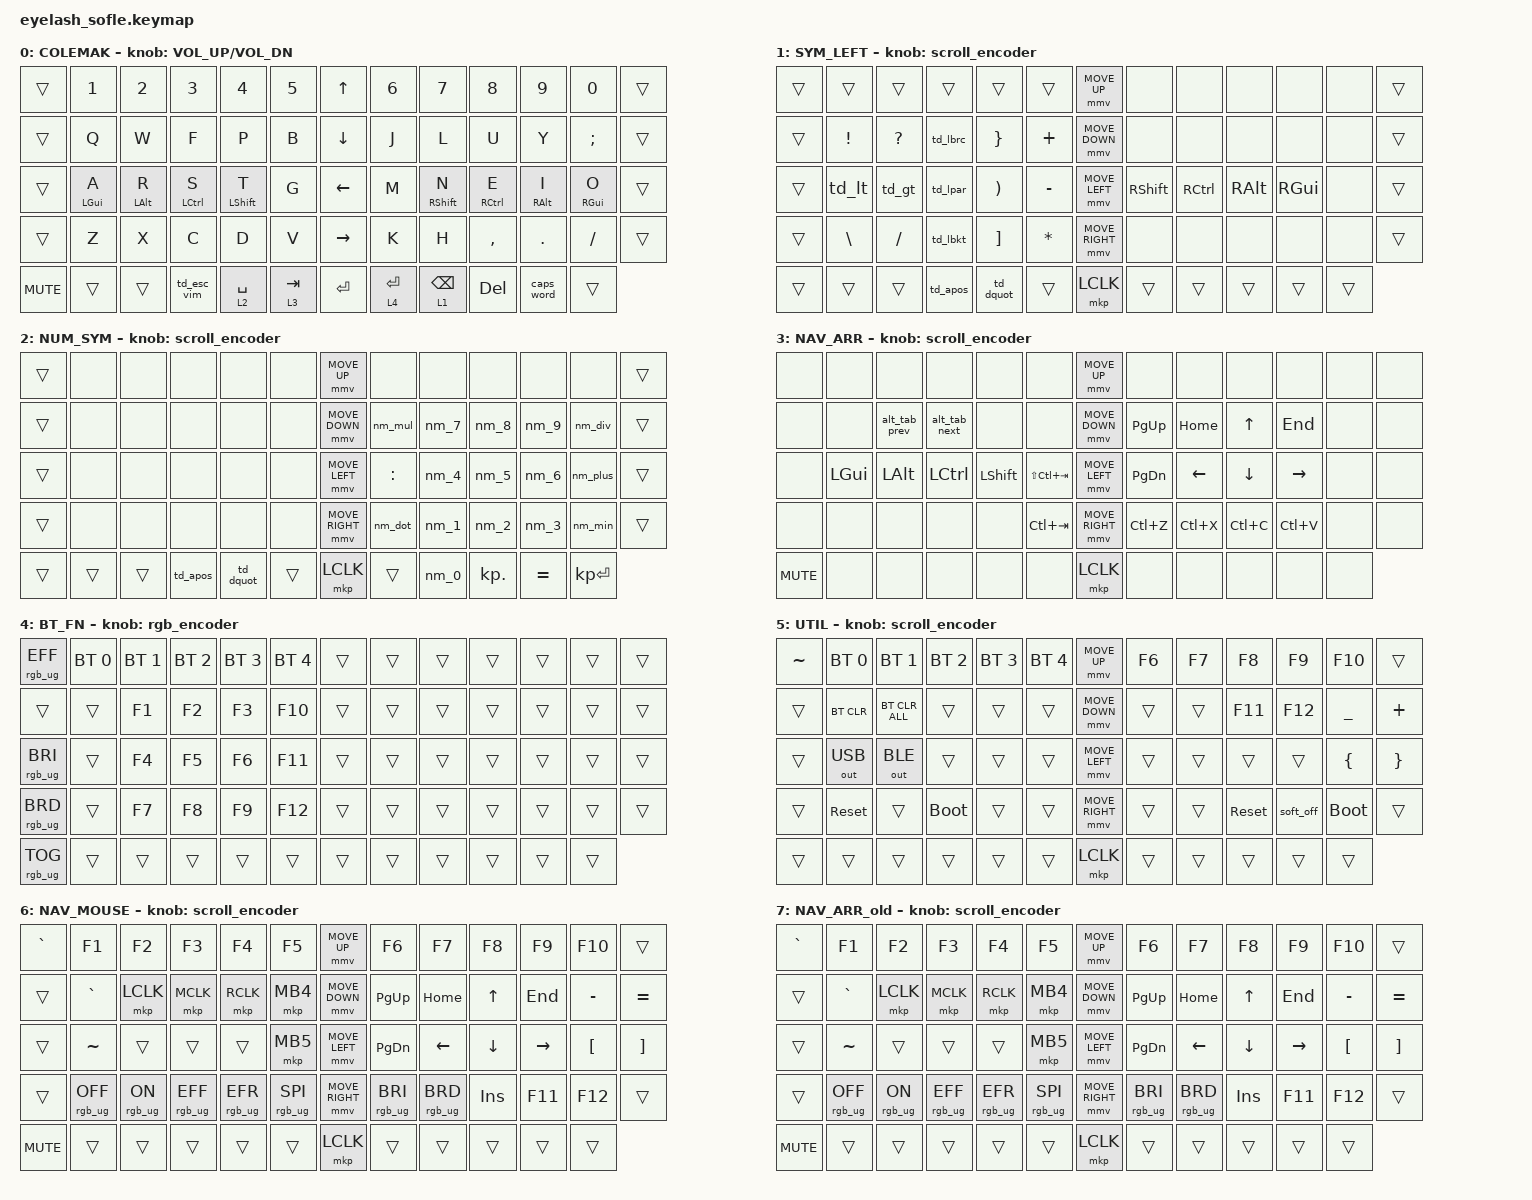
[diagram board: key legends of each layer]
#define ZMK_POINTING_DEFAULT_MOVE_VAL 1200
#define ZMK_POINTING_DEFAULT_SCRL_VAL 25

#define NO_AE RA(Z)
#define NO_O  RA(L)
#define NO_AA RA(W)

#include <behaviors.dtsi>
#include <dt-bindings/zmk/bt.h>
#include <dt-bindings/zmk/keys.h>
#include <dt-bindings/zmk/outputs.h>
#include <dt-bindings/zmk/pointing.h>
#include <dt-bindings/zmk/rgb.h>
#include <input/processors.dtsi>

/* Mouse Settings */
&mmv_input_listener { input-processors = <&zip_xy_scaler 2 1>; };
&msc_input_listener { input-processors = <&zip_scroll_scaler 2 1>; };

&msc {
    acceleration-exponent = <1>;
    time-to-max-speed-ms = <100>;
    delay-ms = <0>;
};

&mmv {
    time-to-max-speed-ms = <300>;
    acceleration-exponent = <2>;
    trigger-period-ms = <8>;
};

&soft_off { hold-time-ms = <2000>; };

/ {
    scroll_encoder: scroll_encoder {
        compatible = "zmk,behavior-sensor-rotate";
        #sensor-binding-cells = <0>;
        bindings = <&msc SCRL_DOWN>, <&msc SCRL_UP>;
        tap-ms = <100>;
    };

    rgb_encoder: rgb_encoder {
        compatible = "zmk,behavior-sensor-rotate";
        #sensor-binding-cells = <0>;
        bindings = <&rgb_ug RGB_BRI>, <&rgb_ug RGB_BRD>;
        tap-ms = <30>; // Lower ms makes it feel more responsive for lighting
    };

    /* Trackpoint Scroll Listener is disabled for this build to ensure success */
    /* We will re-enable this once we have a green build checkmark */

    behaviors {
        hrm: home_row_mod {
            compatible = "zmk,behavior-hold-tap";
            #binding-cells = <2>;
            flavor = "balanced";
            tapping-term-ms = <280>;
            quick-tap-ms = <175>;
            require-prior-idle-ms = <150>;
            bindings = <&kp>, <&kp>;
        };
        td_gt: td_gt {
            compatible = "zmk,behavior-tap-dance";
            #binding-cells = <0>;
            tapping-term-ms = <200>;
            bindings = <&kp GT>, <&arrow_macro>;
        };
        td_lpar: td_lpar {
            compatible = "zmk,behavior-tap-dance";
            #binding-cells = <0>;
            tapping-term-ms = <200>;
            bindings = <&kp LPAR>, <&parens_inside>;
        };
        td_lbrc: td_lbrc {
            compatible = "zmk,behavior-tap-dance";
            #binding-cells = <0>;
            tapping-term-ms = <200>;
            bindings = <&kp LBRC>, <&braces_inside>;
        };
        td_lbkt: td_lbkt {
            compatible = "zmk,behavior-tap-dance";
            #binding-cells = <0>;
            tapping-term-ms = <200>;
            bindings = <&kp LBKT>, <&brackets_inside>;
        };
        td_lt: td_lt {
            compatible = "zmk,behavior-tap-dance";
            #binding-cells = <0>;
            tapping-term-ms = <200>;
            bindings = <&kp LT>, <&angles_inside>;
        };
    
       apos_single: apos_single {
            compatible = "zmk,behavior-macro";
            #binding-cells = <0>;
            bindings = <&macro_release &kp LSHIFT>, <&macro_release &kp RSHIFT>, <&macro_tap &kp APOS>;
        };

        td_apos: td_apos {
            compatible = "zmk,behavior-tap-dance";
            #binding-cells = <0>;
            tapping-term-ms = <200>;
            bindings = <&apos_single>, <&apos_inside>;
        };
        td_dquot: td_dquot {
            compatible = "zmk,behavior-tap-dance";
            #binding-cells = <0>;
            tapping-term-ms = <200>;
            bindings = <&kp DQT>, <&dquot_inside>;
        };
        mm_vim_quit: mm_vim_quit {
            compatible = "zmk,behavior-mod-morph";
            #binding-cells = <0>;
            bindings = <&vim_save_quit>, <&vim_just_quit>;
            mods = <(MOD_LSFT|MOD_RSFT)>;
        };
        td_esc_vim: td_esc_vim {
            compatible = "zmk,behavior-tap-dance";
            #binding-cells = <0>;
            tapping-term-ms = <200>;
            bindings = <&kp ESC>, <&mm_vim_quit>;
        };
        nm_0: nm_0 { compatible = "zmk,behavior-mod-morph"; #binding-cells = <0>; bindings = <&kp N0>, <&kp EQUAL>; mods = <(MOD_LSFT|MOD_RSFT)>; };
        nm_1: nm_1 { 
            compatible = "zmk,behavior-mod-morph"; 
            #binding-cells = <0>; 
            bindings = <&kp N1>, <&td_dquot>; 
            mods = <(MOD_LSFT|MOD_RSFT)>; 
        };
        nm_2: nm_2 { compatible = "zmk,behavior-mod-morph"; #binding-cells = <0>; bindings = <&kp N2>, <&kp PIPE>; mods = <(MOD_LSFT|MOD_RSFT)>; };
        nm_3: nm_3 { compatible = "zmk,behavior-mod-morph"; #binding-cells = <0>; bindings = <&kp N3>, <&kp HASH>; mods = <(MOD_LSFT|MOD_RSFT)>; };
        nm_4: nm_4 { 
            compatible = "zmk,behavior-mod-morph"; 
            #binding-cells = <0>; 
            bindings = <&kp N4>, <&td_apos>; 
            mods = <(MOD_LSFT|MOD_RSFT)>; 
        };
        nm_5: nm_5 { compatible = "zmk,behavior-mod-morph"; #binding-cells = <0>; bindings = <&kp N5>, <&kp AMPS>; mods = <(MOD_LSFT|MOD_RSFT)>; };
        nm_6: nm_6 { compatible = "zmk,behavior-mod-morph"; #binding-cells = <0>; bindings = <&kp N6>, <&kp AT>; mods = <(MOD_LSFT|MOD_RSFT)>; };
        nm_7: nm_7 { compatible = "zmk,behavior-mod-morph"; #binding-cells = <0>; bindings = <&kp N7>, <&kp GRAVE>; mods = <(MOD_LSFT|MOD_RSFT)>; };
        nm_8: nm_8 { compatible = "zmk,behavior-mod-morph"; #binding-cells = <0>; bindings = <&kp N8>, <&kp PRCNT>; mods = <(MOD_LSFT|MOD_RSFT)>; };
        nm_9: nm_9 { compatible = "zmk,behavior-mod-morph"; #binding-cells = <0>; bindings = <&kp N9>, <&kp POUND>; mods = <(MOD_LSFT|MOD_RSFT)>; };
        nm_dot: nm_dot { compatible = "zmk,behavior-mod-morph"; #binding-cells = <0>; bindings = <&kp KP_DOT>, <&kp UNDER>; mods = <(MOD_LSFT|MOD_RSFT)>; };
        nm_plus: nm_plus { compatible = "zmk,behavior-mod-morph"; #binding-cells = <0>; bindings = <&kp KP_PLUS>, <&kp COLON>; mods = <(MOD_LSFT|MOD_RSFT)>; };
        nm_min: nm_min { compatible = "zmk,behavior-mod-morph"; #binding-cells = <0>; bindings = <&kp KP_MINUS>, <&kp TILDE>; mods = <(MOD_LSFT|MOD_RSFT)>; };
        nm_div: nm_div { compatible = "zmk,behavior-mod-morph"; #binding-cells = <0>; bindings = <&kp KP_SLASH>, <&kp CARET>; mods = <(MOD_LSFT|MOD_RSFT)>; };
        nm_mul: nm_mul { compatible = "zmk,behavior-mod-morph"; #binding-cells = <0>; bindings = <&kp KP_ASTERISK>, <&kp DLLR>; mods = <(MOD_LSFT|MOD_RSFT)>; };
    };

    macros {
        arrow_macro: arrow_macro {
            compatible = "zmk,behavior-macro";
            #binding-cells = <0>;
            bindings = <&kp EQUAL>, <&kp GT>;
        };
        parens_inside: parens_inside {
            compatible = "zmk,behavior-macro";
            #binding-cells = <0>;
            bindings = <&kp LPAR>, <&kp RPAR>, <&kp LEFT>;
        };
        braces_inside: braces_inside {
            compatible = "zmk,behavior-macro";
            #binding-cells = <0>;
            bindings = <&kp LBRC>, <&kp RBRC>, <&kp LEFT>;
        };
        brackets_inside: brackets_inside {
            compatible = "zmk,behavior-macro";
            #binding-cells = <0>;
            bindings = <&kp LBKT>, <&kp RBKT>, <&kp LEFT>;
        };
        angles_inside: angles_inside {
            compatible = "zmk,behavior-macro";
            #binding-cells = <0>;
            bindings = <&kp LT>, <&kp GT>, <&kp LEFT>;
        };
        apos_inside: apos_inside {
            compatible = "zmk,behavior-macro";
            #binding-cells = <0>;
            bindings = <&macro_release &kp LSHIFT>, <&macro_release &kp RSHIFT>, <&macro_tap &kp APOS &kp APOS &kp LEFT>;
        };
        dquot_inside: dquot_inside {
            compatible = "zmk,behavior-macro";
            #binding-cells = <0>;
            bindings = <&macro_release &kp LSHIFT>, <&macro_release &kp RSHIFT>, <&macro_tap &kp DQT &kp DQT &kp LEFT>;
        };
        vim_save_quit: vim_save_quit {
            compatible = "zmk,behavior-macro";
            #binding-cells = <0>;
            bindings = <&kp ESC &kp COLON &kp W &kp Q &kp RET>;
        };
        vim_just_quit: vim_just_quit {
            compatible = "zmk,behavior-macro";
            #binding-cells = <0>;
            bindings = <&kp ESC &kp COLON &kp Q &kp RET>;
        };
        aa_macro: aa_macro {
            compatible = "zmk,behavior-macro";
            #binding-cells = <0>;
            bindings = <&kp LBKT>;
        };
        oo_macro: oo_macro {
            compatible = "zmk,behavior-macro";
            #binding-cells = <0>;
            bindings = <&kp SEMI>;
        };
        alt_tab_next: alt_tab_next {
            compatible = "zmk,behavior-macro";
            #binding-cells = <0>;
            bindings = <&macro_press &kp LALT>, <&macro_tap &kp TAB>, <&macro_release &kp LALT>;
        };

        alt_tab_prev: alt_tab_prev {
            compatible = "zmk,behavior-macro";
            #binding-cells = <0>;
            bindings = <&macro_press &kp LALT>, <&macro_tap &kp LS(TAB)>, <&macro_release &kp LALT>;
        };
    };

    combos {
        compatible = "zmk,combos";
        combo_softoff {
            bindings = <&soft_off>;
            key-positions = <14 28 40>;
        };
        combo_aa {
            timeout-ms = <50>;
            key-positions = <15 16>; 
            bindings = <&kp NO_AA>; 
        };
        combo_ae {
            timeout-ms = <50>;
            key-positions = <21 22>; 
            bindings = <&kp NO_AE>;
        };
        combo_oo {
            bindings = <&kp NO_O>;
            timeout-ms = <50>;
            key-positions = <22 23>; 
        };
    };

    keymap {
        compatible = "zmk,keymap";

        layer0 {
            display-name = "COLEMAK";
            bindings = <
&trans       &kp N1          &kp N2          &kp N3          &kp N4           &kp N5    &kp UP_ARROW    &kp N6       &kp N7           &kp N8          &kp N9          &kp N0          &trans
&trans       &kp Q           &kp W           &kp F           &kp P            &kp B     &kp DOWN_ARROW  &kp J        &kp L            &kp U           &kp Y           &kp SEMICOLON   &trans
&trans       &hrm LGUI A     &hrm LALT R     &hrm LCTRL S    &hrm LSHIFT T    &kp G     &kp LEFT_ARROW  &kp M        &hrm RSHIFT N    &hrm RCTRL E    &hrm RALT I     &hrm RGUI O     &trans
&trans       &kp Z           &kp X           &kp C           &kp D            &kp V     &kp RIGHT_ARROW &kp K        &kp H            &kp COMMA       &kp DOT         &kp FSLH        &trans
&kp C_MUTE   &trans          &trans          &td_esc_vim     &lt 2 SPACE      &lt 3 TAB &kp ENTER       &lt 4 RETURN &lt 1 BSPC       &kp DEL          &caps_word          &trans
            >;
            sensor-bindings = <&inc_dec_kp C_VOLUME_UP C_VOL_DN>;
        };

        layer_1 {
            display-name = "SYM_LEFT";
            bindings = <
&trans  &trans     &trans    &trans    &trans     &trans       &mmv MOVE_UP     &none      &none      &none      &none      &none      &trans
&trans  &kp EXCL   &kp QMARK &td_lbrc  &kp RBRC   &kp PLUS     &mmv MOVE_DOWN   &none      &none      &none      &none      &none      &trans
&trans  &td_lt     &td_gt    &td_lpar  &kp RPAR   &kp MINUS    &mmv MOVE_LEFT   &kp RSHIFT &kp RCTRL  &kp RALT   &kp RGUI   &none      &trans
&trans  &kp BSLH   &kp FSLH  &td_lbkt  &kp RBKT   &kp STAR     &mmv MOVE_RIGHT  &none      &none      &none      &none      &none      &trans
&trans  &trans     &trans    &td_apos  &td_dquot  &trans       &mkp LCLK        &trans     &trans     &trans     &trans     &trans
            >;
            sensor-bindings = <&scroll_encoder>;
        };

        layer_2 {
            display-name = "NUM_SYM";
            bindings = <
&trans  &none      &none      &none      &none      &none              &mmv MOVE_UP     &none      &none      &none      &none      &none       &trans
&trans  &none      &none      &none      &none      &none              &mmv MOVE_DOWN   &nm_mul    &nm_7      &nm_8      &nm_9      &nm_div     &trans
&trans  &none      &none      &none      &none      &none              &mmv MOVE_LEFT   &kp COLON  &nm_4      &nm_5      &nm_6      &nm_plus    &trans
&trans  &none      &none      &none      &none      &none              &mmv MOVE_RIGHT  &nm_dot    &nm_1      &nm_2      &nm_3      &nm_min     &trans
&trans  &trans     &trans     &td_apos   &td_dquot  &trans             &mkp LCLK        &trans     &nm_0      &kp KP_DOT &kp EQUAL  &kp KP_ENTER
            >;
            sensor-bindings = <&scroll_encoder>;
        };

        layer_3 {
            display-name = "NAV_ARR";
            bindings = <
&none        &none        &none        &none        &none         &none                               &mmv MOVE_UP     &none            &none            &none            &none           &none            &none
&none        &none        &alt_tab_prev &alt_tab_next        &none         &none                               &mmv MOVE_DOWN   &kp PG_UP        &kp HOME         &kp UP           &kp END         &none            &none
&none        &kp LGUI     &kp LALT     &kp LCTRL    &kp LSHIFT    &kp LS(LC(TAB))                     &mmv MOVE_LEFT   &kp PG_DN        &kp LEFT         &kp DOWN         &kp RIGHT       &none            &none
&none        &none        &none        &none        &none         &kp LC(TAB)                         &mmv MOVE_RIGHT  &kp LC(Z)        &kp LC(X)        &kp LC(C)        &kp LC(V)       &none            &none
&kp C_MUTE   &none        &none        &none        &none         &none                               &mkp LCLK        &none            &none            &none            &none           &none
            >;
            sensor-bindings = <&scroll_encoder>;
        };

        layer_4 {
            display-name = "BT_FN";
            bindings = <
&rgb_ug RGB_EFF  &bt BT_SEL 0  &bt BT_SEL 1    &bt BT_SEL 2  &bt BT_SEL 3  &bt BT_SEL 4  &trans    &trans  &trans  &trans  &trans  &trans  &trans
&trans  &trans  &kp F1  &kp F2  &kp F3  &kp F10   &trans  &trans  &trans  &trans  &trans  &trans  &trans
&rgb_ug RGB_BRI  &trans  &kp F4  &kp F5  &kp F6  &kp F11    &trans  &trans  &trans  &trans  &trans  &trans  &trans
&rgb_ug RGB_BRD  &trans  &kp F7  &kp F8  &kp F9  &kp F12    &trans  &trans  &trans  &trans  &trans  &trans  &trans
&rgb_ug RGB_TOG  &trans  &trans  &trans  &trans  &trans    &trans  &trans  &trans  &trans  &trans  &trans
            >;
            sensor-bindings = <&rgb_encoder>;
        };

        layer_5 {
            display-name = "UTIL";
            bindings = <
&kp TILDE  &bt BT_SEL 0  &bt BT_SEL 1    &bt BT_SEL 2  &bt BT_SEL 3  &bt BT_SEL 4    &mmv MOVE_UP     &kp F6     &kp F7  &kp F8      &kp F9      &kp F10      &trans
&trans     &bt BT_CLR     &bt BT_CLR_ALL  &trans        &trans        &trans          &mmv MOVE_DOWN   &trans     &trans  &kp F11     &kp F12     &kp UNDER    &kp PLUS
&trans     &out OUT_USB  &out OUT_BLE    &trans        &trans        &trans          &mmv MOVE_LEFT   &trans     &trans  &trans      &trans      &kp LBRC     &kp RBRC
&trans     &sys_reset    &trans          &bootloader   &trans        &trans          &mmv MOVE_RIGHT  &trans     &trans  &sys_reset  &soft_off   &bootloader  &trans
&trans     &trans        &trans          &trans        &trans        &trans          &mkp LCLK        &trans     &trans  &trans      &trans      &trans
            >;
            sensor-bindings = <&scroll_encoder>;
        };

        layer_6 {
            display-name = "NAV_MOUSE";
            bindings = <
&kp GRAVE   &kp F1           &kp F2          &kp F3          &kp F4          &kp F5             &mmv MOVE_UP     &kp F6       &kp F7    &kp F8    &kp F9     &kp F10           &trans
&trans      &kp GRAVE        &mkp LCLK       &mkp MCLK       &mkp RCLK       &mkp MB4           &mmv MOVE_DOWN   &kp PG_UP    &kp HOME  &kp UP    &kp END    &kp MINUS         &kp EQUAL
&trans      &kp TILDE        &trans          &trans          &trans          &mkp MB5           &mmv MOVE_LEFT   &kp PG_DN    &kp LEFT  &kp DOWN  &kp RIGHT  &kp LBKT          &kp RBKT
&trans      &rgb_ug RGB_OFF  &rgb_ug RGB_ON  &rgb_ug RGB_EFF &rgb_ug RGB_EFR &rgb_ug RGB_SPI    &mmv MOVE_RIGHT  &rgb_ug RGB_BRI &rgb_ug RGB_BRD &kp INSERT &kp F11 &kp F12  &trans
&kp C_MUTE  &trans           &trans          &trans          &trans          &trans             &mkp LCLK        &trans       &trans    &trans    &trans     &trans
            >;
            sensor-bindings = <&scroll_encoder>;
        };

        layer_7_oldRGB {
            display-name = "NAV_ARR_old";
            bindings = <
&kp GRAVE   &kp F1           &kp F2          &kp F3          &kp F4          &kp F5             &mmv MOVE_UP     &kp F6       &kp F7    &kp F8    &kp F9     &kp F10           &trans
&trans      &kp GRAVE        &mkp LCLK       &mkp MCLK       &mkp RCLK       &mkp MB4           &mmv MOVE_DOWN   &kp PG_UP    &kp HOME  &kp UP    &kp END    &kp MINUS         &kp EQUAL
&trans      &kp TILDE        &trans          &trans          &trans          &mkp MB5           &mmv MOVE_LEFT   &kp PG_DN    &kp LEFT  &kp DOWN  &kp RIGHT  &kp LBKT          &kp RBKT
&trans      &rgb_ug RGB_OFF  &rgb_ug RGB_ON  &rgb_ug RGB_EFF &rgb_ug RGB_EFR &rgb_ug RGB_SPI    &mmv MOVE_RIGHT  &rgb_ug RGB_BRI &rgb_ug RGB_BRD &kp INSERT &kp F11 &kp F12  &trans
&kp C_MUTE  &trans           &trans          &trans          &trans          &trans             &mkp LCLK        &trans       &trans    &trans    &trans     &trans
            >;
            sensor-bindings = <&scroll_encoder>;
        };
    };
};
